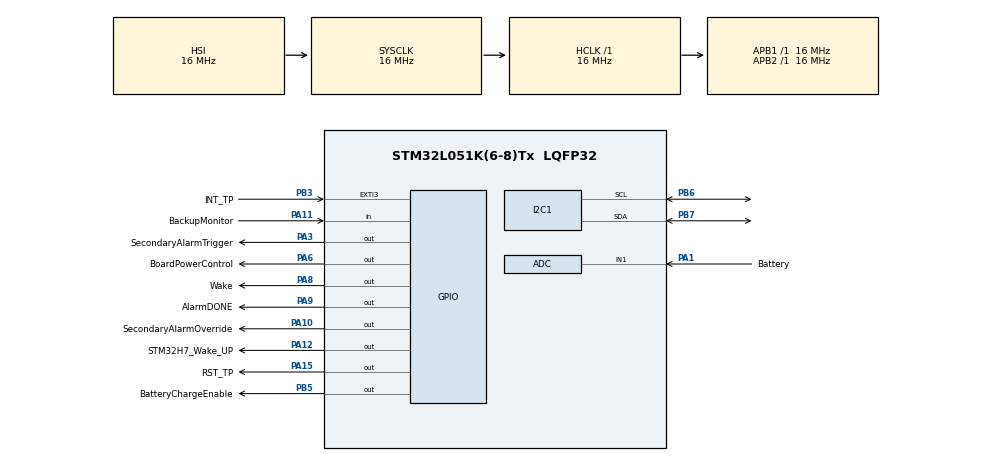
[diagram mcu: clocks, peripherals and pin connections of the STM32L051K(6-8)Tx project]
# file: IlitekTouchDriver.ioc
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ADC.SamplingTime=ADC_SAMPLETIME_160CYCLES_5
Dma.ADC.0.Direction=DMA_PERIPH_TO_MEMORY
Dma.ADC.0.Instance=DMA1_Channel1
Dma.ADC.0.MemDataAlignment=DMA_MDATAALIGN_HALFWORD
Dma.ADC.0.MemInc=DMA_MINC_ENABLE
Dma.ADC.0.Mode=DMA_NORMAL
Dma.ADC.0.PeriphDataAlignment=DMA_PDATAALIGN_HALFWORD
Dma.ADC.0.PeriphInc=DMA_PINC_DISABLE
Dma.ADC.0.Priority=DMA_PRIORITY_LOW
Dma.Request0=ADC
I2C1.Timing=0x00503D58
Mcu.Family=STM32L0
Mcu.Name=STM32L051K(6-8)Tx
Mcu.Package=LQFP32
NVIC.DMA1_Channel1_IRQn=true\:0\:0\:false\:false\:true\:false\:true\:true
NVIC.EXTI2_3_IRQn=true\:0\:0\:false\:false\:true\:true\:true\:true
PA1.GPIO_Label=Battery
PA1.Mode=IN1
PA1.Signal=ADC_IN1
PA10.GPIO_Label=SecondaryAlarmOverride
PA10.Signal=GPIO_Output
PA11.GPIO_Label=BackupMonitor
PA11.Signal=GPIO_Input
PA12.GPIO_Label=STM32H7_Wake_UP
PA12.Signal=GPIO_Output
PA13.Mode=Serial_Wire
PA13.Signal=SYS_SWDIO
PA14.Mode=Serial_Wire
PA14.Signal=SYS_SWCLK
PA15.GPIO_Label=RST_TP
PA15.Signal=GPIO_Output
PA3.GPIO_Label=SecondaryAlarmTrigger
PA3.Signal=GPIO_Output
PA6.GPIO_Label=BoardPowerControl
PA6.Signal=GPIO_Output
PA8.GPIO_Label=Wake
PA8.Signal=GPIO_Output
PA9.GPIO_Label=AlarmDONE
PA9.Signal=GPIO_Output
PB3.GPIO_Label=INT_TP
PB3.GPIO_ModeDefaultEXTI=GPIO_MODE_IT_FALLING
PB3.GPIO_PuPd=GPIO_PULLUP
PB3.Signal=GPXTI3
PB5.GPIO_Label=BatteryChargeEnable
PB5.Signal=GPIO_Output
PB6.Mode=I2C
PB6.Signal=I2C1_SCL
PB7.Mode=I2C
PB7.Signal=I2C1_SDA
ProjectManager.HeapSize=0x200
ProjectManager.StackSize=0x400
ProjectManager.TargetToolchain=STM32CubeIDE
RCC.AHBFreq_Value=16000000
RCC.APB1Freq_Value=16000000
RCC.APB1TimFreq_Value=16000000
RCC.APB2Freq_Value=16000000
RCC.APB2TimFreq_Value=16000000
RCC.HCLKFreq_Value=16000000
RCC.HSI16_VALUE=16000000
RCC.HSI_VALUE=16000000
RCC.LSE_VALUE=32768
RCC.MSI_VALUE=2097000
RCC.SYSCLKFreq_VALUE=16000000
RCC.SYSCLKSource=RCC_SYSCLKSOURCE_HSI
RCC.VCOOutputFreq_Value=48000000
board=custom

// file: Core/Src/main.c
/* USER CODE BEGIN Header */
/**
  ******************************************************************************
  * @file           : main.c
  * @brief          : Main program body
  ******************************************************************************
  * @attention
  *
  * Copyright (c) 2025 STMicroelectronics.
  * All rights reserved.
  *
  * This software is licensed under terms that can be found in the LICENSE file
  * in the root directory of this software component.
  * If no LICENSE file comes with this software, it is provided AS-IS.
  *
  ******************************************************************************
  */
/* USER CODE END Header */
#include "main.h"
#include "adc.h"
#include "dma.h"
#include "i2c.h"
#include "gpio.h"

/* USER CODE BEGIN Includes */
#include "touch_ilitek.h"
#include <stdio.h>
/* USER CODE END Includes */

/* USER CODE BEGIN PV */
GPIO_TypeDef* TOUCH_INT_GPIO_Port = GPIOB;
uint16_t TOUCH_INT_Pin = GPIO_PIN_3;
GPIO_TypeDef* TOUCH_RST_GPIO_Port = GPIOA;
uint16_t TOUCH_RST_Pin = GPIO_PIN_15;
/* USER CODE END PV */

void SystemClock_Config(void);

/* USER CODE BEGIN 0 */
void onTouchDown(const TouchEvent* evt, const TouchButtonInfo* info) {
    printf("[DOWN] Button %d (%s) at (%u, %u)\n", info->id, info->label, evt->x, evt->y);
}

void onTouchUp(const TouchEvent* evt, const TouchButtonInfo* info) {
    printf("[UP] Button %d (%s) at (%u, %u)\n", info->id, info->label, evt->x, evt->y);
}

void onTouchHold(const TouchEvent* evt, const TouchButtonInfo* info) {
    printf("[HOLD] Button %d (%s) held at (%u, %u)\n", info->id, info->label, evt->x, evt->y);

    if (info->id == 5) {
    	HAL_GPIO_WritePin(BoardPowerControl_GPIO_Port, BoardPowerControl_Pin, GPIO_PIN_SET);
    } else if (info->id == 6) {
    	HAL_GPIO_WritePin(BoardPowerControl_GPIO_Port, BoardPowerControl_Pin, GPIO_PIN_RESET);
    }
}
/* USER CODE END 0 */

int main(void)
{

  /* MCU Configuration--------------------------------------------------------*/

  /* Reset of all peripherals, Initializes the Flash interface and the Systick. */
  HAL_Init();

  /* Configure the system clock */
  SystemClock_Config();

  /* Initialize all configured peripherals */
  MX_GPIO_Init();
  MX_DMA_Init();
  MX_ADC_Init();
  MX_I2C1_Init();
  /* USER CODE BEGIN 2 */
  ILITEK_Init();

  GridLayout layout = {
      .startX = 10, .startY = 10,
      .width = 80, .height = 40,
      .hSpacing = 10, .vSpacing = 10,
      .columns = 2
  };

  static const TouchButtonInfo buttons [] = {
		  { .id = 1, .label = "OK" },
		  { .id = 2, .label = "Cancel" },
		  { .id = 3, .label = "Apply" },
		  { .id = 4, .label = "Reset" }
  };

  const int size = sizeof(buttons) / sizeof(buttons[0]);

  ILITEK_CreateGridButtons(&layout, buttons, size, onTouchDown, onTouchUp, onTouchHold, 1000);

  static const TouchRegion regionON = {.x0 = 1000, .x1 = 1100, .y0 = 100, .y1 = 200};
  static const TouchRegion regionOFF = {.x0 = 1000, .x1 = 1100, .y0 = 300, .y1 = 400};

  static const TouchButtonInfo btnTurnONInfo = { .id = 6, .label = "TurnON" };
  static const TouchButtonInfo btnTurnOFFInfo = { .id = 7, .label = "TurnOFF" };

  static const TouchRegionHandler btnTurnON = {
	.region = regionON,
	.onTouchHold = onTouchHold,
	.userContext = &btnTurnONInfo,
	.active = true
  };

  static const TouchRegionHandler btnTurnOFF = {
  	.region = regionOFF,
  	.onTouchHold = onTouchHold,
  	.userContext = &btnTurnOFFInfo,
  	.active = true
  };

  ILITEK_RegisterRegionHandler(&btnTurnON);
  ILITEK_RegisterRegionHandler(&btnTurnOFF);

  /* USER CODE END 2 */

  /* Infinite loop */
  /* USER CODE BEGIN WHILE */
  while (1)
  {
	  ILITEK_PollTouchEvents();
	  HAL_Delay(10);
    /* USER CODE END WHILE */

  }
}

void SystemClock_Config(void)
{
  RCC_OscInitTypeDef RCC_OscInitStruct = {0};
  RCC_ClkInitTypeDef RCC_ClkInitStruct = {0};
  RCC_PeriphCLKInitTypeDef PeriphClkInit = {0};

  /** Configure the main internal regulator output voltage
  */
  __HAL_PWR_VOLTAGESCALING_CONFIG(PWR_REGULATOR_VOLTAGE_SCALE1);

  /** Initializes the RCC Oscillators according to the specified parameters
  * in the RCC_OscInitTypeDef structure.
  */
  RCC_OscInitStruct.OscillatorType = RCC_OSCILLATORTYPE_HSI;
  RCC_OscInitStruct.HSIState = RCC_HSI_ON;
  RCC_OscInitStruct.HSICalibrationValue = RCC_HSICALIBRATION_DEFAULT;
  RCC_OscInitStruct.PLL.PLLState = RCC_PLL_NONE;
  if (HAL_RCC_OscConfig(&RCC_OscInitStruct) != HAL_OK)
  {
    Error_Handler();
  }

  /** Initializes the CPU, AHB and APB buses clocks
  */
  RCC_ClkInitStruct.ClockType = RCC_CLOCKTYPE_HCLK|RCC_CLOCKTYPE_SYSCLK
                              |RCC_CLOCKTYPE_PCLK1|RCC_CLOCKTYPE_PCLK2;
  RCC_ClkInitStruct.SYSCLKSource = RCC_SYSCLKSOURCE_HSI;
  RCC_ClkInitStruct.AHBCLKDivider = RCC_SYSCLK_DIV1;
  RCC_ClkInitStruct.APB1CLKDivider = RCC_HCLK_DIV1;
  RCC_ClkInitStruct.APB2CLKDivider = RCC_HCLK_DIV1;

  if (HAL_RCC_ClockConfig(&RCC_ClkInitStruct, FLASH_LATENCY_0) != HAL_OK)
  {
    Error_Handler();
  }
  PeriphClkInit.PeriphClockSelection = RCC_PERIPHCLK_I2C1;
  PeriphClkInit.I2c1ClockSelection = RCC_I2C1CLKSOURCE_PCLK1;
  if (HAL_RCCEx_PeriphCLKConfig(&PeriphClkInit) != HAL_OK)
  {
    Error_Handler();
  }
}

void Error_Handler(void)
{
  __disable_irq();
  while (1)
  {
  }
}
